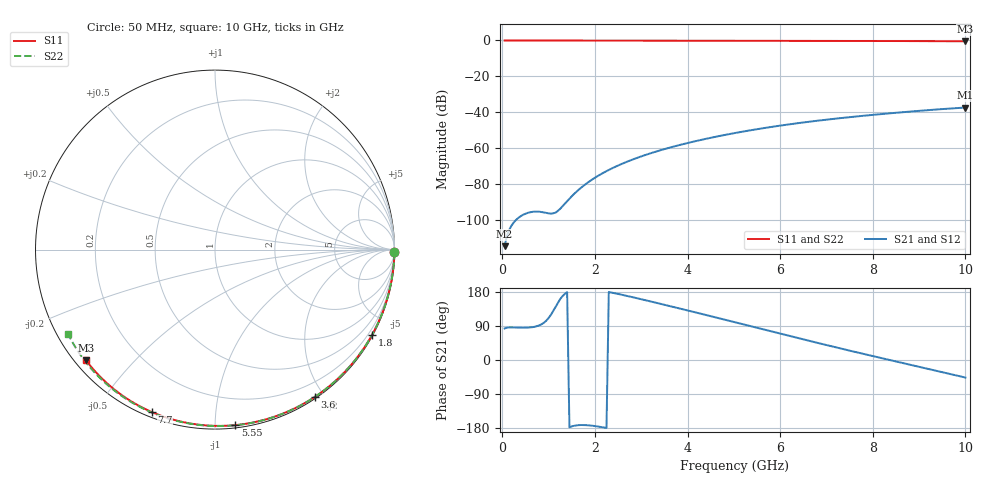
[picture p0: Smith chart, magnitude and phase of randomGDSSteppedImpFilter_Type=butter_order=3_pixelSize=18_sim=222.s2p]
! freq	dB(S11)	phase(S11)	dB(S12)	phase(S12)
!  dB(S21)	phase(S21)	dB(S22)	phase(S22)
!S-par simulation data
#  GHz  S  DB  R 50
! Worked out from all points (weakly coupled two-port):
!   200 points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, 50 MHz to 10 GHz, reference 50 ohm
!   highest |S21| = -37.41 dB at 10 GHz (marker M1); lowest = -114.8 dB at 50 MHz (marker M2)
!   lowest |S11| = -0.5 dB at 10 GHz (marker M3), VSWR 36.86, Z = 1.54 - j18.5 ohm
!   |S11| at or under -10 dB: nowhere
!   |S22| runs from -0.5 to 0.0 dB; largest |S21 - S12| = 0
!   S11 on the Smith chart (normalised r, x): 50 MHz: open; 1.8 GHz: 0.03, -3.92; 3.6 GHz: 0.02, -1.88; 5.55 GHz: 0.02, -1.12; 7.7 GHz: 0.02, -0.68; 10 GHz: 0.03, -0.37
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0.05  -0.00 -0.8  -114.76 83.2  -114.76 83.2  -0.00 -0.9
0.45  -0.01 -7.3  -97.23 85.2  -97.23 85.2  -0.01 -7.8
0.9  -0.02 -14.5  -95.94 98.4  -95.94 98.4  -0.02 -15.6
1.3  -0.03 -20.8  -92.55 168.4  -92.55 168.4  -0.03 -22.4
1.75  -0.04 -27.9  -81.13 -171.6  -81.13 -171.6  -0.04 -30.0
1.8  -0.04 -28.6  -80.14 -171.8  -80.14 -171.8  -0.04 -30.9
2  -0.04 -31.8  -76.60 -174.3  -76.60 -174.3  -0.04 -34.2
2.15  -0.04 -34.1  -74.29 -177.2  -74.29 -177.2  -0.05 -36.7
2.3  -0.05 -36.4  -72.23 179.4  -72.23 179.4  -0.05 -39.2
2.5  -0.05 -39.5  -69.77 174.4  -69.77 174.4  -0.05 -42.5
2.9  -0.06 -45.5  -65.60 163.3  -65.60 163.3  -0.06 -49.0
3.4  -0.07 -53.0  -61.36 148.7  -61.36 148.7  -0.08 -57.0
3.6  -0.08 -55.9  -59.89 142.8  -59.89 142.8  -0.08 -60.2
4.3  -0.09 -66.0  -55.42 121.8  -55.42 121.8  -0.10 -71.0
5.05  -0.12 -76.6  -51.51 98.9  -51.51 98.9  -0.13 -82.2
5.55  -0.14 -83.4  -49.29 83.5  -49.29 83.5  -0.15 -89.5
6.1  -0.16 -90.7  -47.14 66.6  -47.14 66.6  -0.17 -97.3
6.7  -0.19 -98.6  -45.10 48.4  -45.10 48.4  -0.21 -105.7
7.7  -0.25 -111.2  -42.26 18.9  -42.26 18.9  -0.27 -119.3
8.35  -0.31 -119.3  -40.68 0.4  -40.68 0.4  -0.33 -128.0
9.2  -0.38 -129.7  -38.86 -23.5  -38.86 -23.5  -0.41 -139.3
10  -0.47 -139.4  -37.41 -46.3  -37.41 -46.3  -0.50 -150.0
